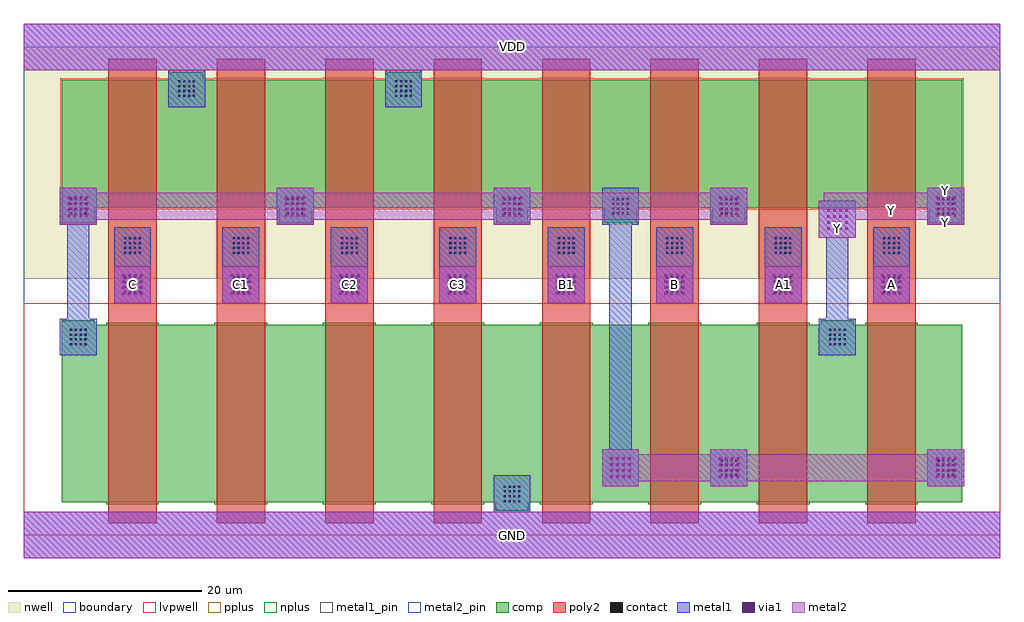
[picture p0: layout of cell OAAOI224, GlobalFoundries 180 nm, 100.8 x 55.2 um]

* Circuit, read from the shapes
.subckt OAAOI224 A A1 B B1 C C1 C2 C3 GND VDD Y
XM1 n1 C n2 VSUBS nfet_03v3 w=18.3u l=5u
XM2 n3 C1 n1 VSUBS nfet_03v3 w=18.3u l=5u
XM3 n4 C2 n3 VSUBS nfet_03v3 w=18.3u l=5u
XM4 GND C3 n4 VSUBS nfet_03v3 w=18.3u l=5u
XM5 n5 B1 GND VSUBS nfet_03v3 w=18.3u l=5u
XM6 n6 B n5 VSUBS nfet_03v3 w=18.3u l=5u
XM7 Y A1 n6 VSUBS nfet_03v3 w=18.3u l=5u
XM8 n6 A Y VSUBS nfet_03v3 w=18.3u l=5u
XM9 VDD C n2 n7 pfet_03v3 w=13.2u l=5u
XM10 n2 C1 VDD n7 pfet_03v3 w=13.2u l=5u
XM11 VDD C2 n2 n7 pfet_03v3 w=13.2u l=5u
XM12 n2 C3 VDD n7 pfet_03v3 w=13.2u l=5u
XM13 n6 B1 n2 n7 pfet_03v3 w=13.2u l=5u
XM14 n2 B n6 n7 pfet_03v3 w=13.2u l=5u
XM15 n8 A1 n2 n7 pfet_03v3 w=13.2u l=5u
XM16 Y A n8 n7 pfet_03v3 w=13.2u l=5u
.ends

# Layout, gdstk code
import gdstk
lib = gdstk.Library(unit=1e-6, precision=1e-09)
def R(c, l, rs):  # rectangles x0, y0, x1, y1
    for r in rs: c.add(gdstk.rectangle(r[:2], r[2:], *l))
def A(c, l, x, y, w, h, nx, ny, dx, dy):  # array of equal rectangles
    R(c, l, [(x+i*dx, y+j*dy, x+i*dx+w, y+j*dy+h) for i in range(nx) for j in range(ny)])
boundary = (0, 0)
nwell = (21, 0)
comp = (22, 0)
poly2 = (30, 0)
pplus = (31, 0)
nplus = (32, 0)
contact = (33, 0)
metal1 = (34, 0)
metal1_pin = (34, 10)
via1 = (35, 0)
metal2 = (36, 0)
metal2_pin = (36, 10)
lvpwell = (204, 0)

oaaoi224 = lib.new_cell('OAAOI224')
R(oaaoi224, boundary, [(0,0,100.8,50.4)])
R(oaaoi224, nwell, [(0,26.45,100.8,50.4)])
A(oaaoi224, comp, 3.9, 32.25, 3.4, 1.55, 3, 1, 22.4, 0)
R(oaaoi224, comp, [(48.7,2.55,52.1,3.4), (3.9,3.4,96.9,21.7), (3.9,21.7,7.3,22.15), (82.3,21.7,85.7,22.15), (59.9,32.25,63.3,33.8), (71.1,32.25,74.5,33.8), (93.5,32.25,96.9,33.8), (3.9,33.8,96.9,47), (15.1,47,18.5,47.8), (37.5,47,40.9,47.8)])
A(oaaoi224, poly2, 8.7, 1.2, 5, 48, 8, 1, 11.2, 0)
A(oaaoi224, pplus, 3.74, 32.09, 3.72, 1.55, 3, 1, 22.4, 0)
A(oaaoi224, pplus, 8.47, 33.57, 5.46, 0.07, 8, 2, 11.2, 13.59)
R(oaaoi224, pplus, [(59.74,32.09,63.46,33.64), (70.94,32.09,74.66,33.64), (93.34,32.09,97.06,33.64), (3.74,33.64,97.06,47.16), (14.94,47.16,18.66,47.96), (37.34,47.16,41.06,47.96)])
A(oaaoi224, nplus, 8.47, 3.17, 5.46, 0.21, 8, 2, 11.2, 18.55)
R(oaaoi224, nplus, [(48.68,2.53,52.12,3.38), (3.88,3.38,96.92,21.72), (3.88,21.72,7.32,22.17), (82.28,21.72,85.72,22.17)])
A(oaaoi224, contact, 49.54, 3.39, 0.22, 0.22, 4, 4, 0.5, 0.5)
A(oaaoi224, contact, 71.94, 6.09, 0.22, 0.22, 4, 4, 0.5, 0.5)
A(oaaoi224, contact, 94.34, 6.09, 0.22, 0.22, 4, 4, 0.5, 0.5)
A(oaaoi224, contact, 4.74, 19.59, 0.22, 0.22, 4, 4, 0.5, 0.5)
A(oaaoi224, contact, 83.14, 19.59, 0.22, 0.22, 4, 4, 0.5, 0.5)
A(oaaoi224, contact, 10.34, 24.99, 0.22, 0.22, 4, 4, 0.5, 0.5)
A(oaaoi224, contact, 21.54, 24.99, 0.22, 0.22, 4, 4, 0.5, 0.5)
A(oaaoi224, contact, 32.74, 24.99, 0.22, 0.22, 4, 4, 0.5, 0.5)
A(oaaoi224, contact, 43.94, 24.99, 0.22, 0.22, 4, 4, 0.5, 0.5)
A(oaaoi224, contact, 55.14, 24.99, 0.22, 0.22, 4, 4, 0.5, 0.5)
A(oaaoi224, contact, 66.34, 24.99, 0.22, 0.22, 4, 4, 0.5, 0.5)
A(oaaoi224, contact, 77.54, 24.99, 0.22, 0.22, 4, 4, 0.5, 0.5)
A(oaaoi224, contact, 88.74, 24.99, 0.22, 0.22, 4, 4, 0.5, 0.5)
A(oaaoi224, contact, 10.34, 29.04, 0.22, 0.22, 4, 4, 0.5, 0.5)
A(oaaoi224, contact, 21.54, 29.04, 0.22, 0.22, 4, 4, 0.5, 0.5)
A(oaaoi224, contact, 32.74, 29.04, 0.22, 0.22, 4, 4, 0.5, 0.5)
A(oaaoi224, contact, 43.94, 29.04, 0.22, 0.22, 4, 4, 0.5, 0.5)
A(oaaoi224, contact, 55.14, 29.04, 0.22, 0.22, 4, 4, 0.5, 0.5)
A(oaaoi224, contact, 66.34, 29.04, 0.22, 0.22, 4, 4, 0.5, 0.5)
A(oaaoi224, contact, 77.54, 29.04, 0.22, 0.22, 4, 4, 0.5, 0.5)
A(oaaoi224, contact, 88.74, 29.04, 0.22, 0.22, 4, 4, 0.5, 0.5)
A(oaaoi224, contact, 4.74, 33.09, 0.22, 0.22, 4, 4, 0.5, 0.5)
A(oaaoi224, contact, 27.14, 33.09, 0.22, 0.22, 4, 4, 0.5, 0.5)
A(oaaoi224, contact, 49.54, 33.09, 0.22, 0.22, 4, 4, 0.5, 0.5)
A(oaaoi224, contact, 60.74, 33.09, 0.22, 0.22, 4, 4, 0.5, 0.5)
A(oaaoi224, contact, 71.94, 33.09, 0.22, 0.22, 4, 4, 0.5, 0.5)
A(oaaoi224, contact, 94.34, 33.09, 0.22, 0.22, 4, 4, 0.5, 0.5)
A(oaaoi224, contact, 15.94, 45.24, 0.22, 0.22, 4, 4, 0.5, 0.5)
A(oaaoi224, contact, 38.34, 45.24, 0.22, 0.22, 4, 4, 0.5, 0.5)
A(oaaoi224, metal1, 9.3, 23.95, 3.8, 7.85, 8, 1, 11.2, 0)
A(oaaoi224, metal1, 3.7, 32.05, 3.8, 3.8, 3, 1, 22.4, 0)
R(oaaoi224, metal1, [(0,-2.4,100.8,2.4), (48.5,2.4,52.3,6.15), (59.7,5.05,63.5,8.85), (70.9,5.05,74.7,8.85), (93.3,5.05,97.1,8.85), (60.45,8.85,62.75,32.05), (3.7,18.55,7.5,22.35), (82.1,18.55,85.9,22.35), (4.45,22.35,6.75,32.05), (82.85,22.35,85.15,30.7), (82.1,30.7,85.9,34.5), (59.7,32.05,63.5,35.85), (70.9,32.05,74.7,35.85), (93.3,32.05,97.1,35.85), (14.9,44.2,18.7,48), (37.3,44.2,41.1,48), (0,48,100.8,52.8)])
R(oaaoi224, metal1_pin, [(0,-2.4,100.8,2.4), (0,48,100.8,52.8)])
A(oaaoi224, via1, 60.54, 5.89, 0.26, 0.26, 4, 4, 0.62, 0.62)
A(oaaoi224, via1, 71.74, 5.89, 0.26, 0.26, 4, 4, 0.62, 0.62)
A(oaaoi224, via1, 94.14, 5.89, 0.26, 0.26, 4, 4, 0.62, 0.62)
A(oaaoi224, via1, 10.14, 24.79, 0.26, 0.26, 4, 4, 0.62, 0.62)
A(oaaoi224, via1, 21.34, 24.79, 0.26, 0.26, 4, 4, 0.62, 0.62)
A(oaaoi224, via1, 32.54, 24.79, 0.26, 0.26, 4, 4, 0.62, 0.62)
A(oaaoi224, via1, 43.74, 24.79, 0.26, 0.26, 4, 4, 0.62, 0.62)
A(oaaoi224, via1, 54.94, 24.79, 0.26, 0.26, 4, 4, 0.62, 0.62)
A(oaaoi224, via1, 66.14, 24.79, 0.26, 0.26, 4, 4, 0.62, 0.62)
A(oaaoi224, via1, 77.34, 24.79, 0.26, 0.26, 4, 4, 0.62, 0.62)
A(oaaoi224, via1, 88.54, 24.79, 0.26, 0.26, 4, 4, 0.62, 0.62)
A(oaaoi224, via1, 82.94, 31.54, 0.26, 0.26, 4, 4, 0.62, 0.62)
A(oaaoi224, via1, 4.54, 32.89, 0.26, 0.26, 4, 4, 0.62, 0.62)
A(oaaoi224, via1, 26.94, 32.89, 0.26, 0.26, 4, 4, 0.62, 0.62)
A(oaaoi224, via1, 49.34, 32.89, 0.26, 0.26, 4, 4, 0.62, 0.62)
A(oaaoi224, via1, 71.74, 32.89, 0.26, 0.26, 4, 4, 0.62, 0.62)
A(oaaoi224, via1, 94.14, 32.89, 0.26, 0.26, 4, 4, 0.62, 0.62)
A(oaaoi224, metal2, 9.3, 23.95, 3.8, 3.8, 8, 1, 11.2, 0)
A(oaaoi224, metal2, 3.7, 32.05, 3.8, 0.5, 5, 2, 22.4, 3.3)
R(oaaoi224, metal2, [(0,-2.4,100.8,2.4), (59.7,5.05,63.5,5.55), (70.9,5.05,74.7,5.55), (93.3,5.05,97.1,5.55), (59.7,5.55,97.1,8.35), (59.7,8.35,63.5,8.85), (70.9,8.35,74.7,8.85), (93.3,8.35,97.1,8.85), (82.1,30.7,85.9,32.55), (3.7,32.55,74.7,35.35), (82.1,32.55,97.1,34.5), (82.6,34.5,97.1,35.35), (0,48,100.8,52.8)])
A(oaaoi224, metal2_pin, 9.3, 23.95, 3.8, 3.8, 8, 1, 11.2, 0)
R(oaaoi224, metal2_pin, [(82.1,30.7,85.9,32.55), (93.3,32.05,97.1,32.55), (82.1,32.55,97.1,34.5), (82.6,34.5,97.1,35.35), (93.3,35.35,97.1,35.85)])
R(oaaoi224, lvpwell, [(0,0,100.8,23.95)])
oaaoi224.add(gdstk.Label('VDD', (50.4,50.4), layer=34, texttype=10))
oaaoi224.add(gdstk.Label('GND', (50.4,0), layer=34, texttype=10))
oaaoi224.add(gdstk.Label('Y', (84,31.625), layer=36, texttype=10))
oaaoi224.add(gdstk.Label('Y', (95.2,32.3), layer=36, texttype=10))
oaaoi224.add(gdstk.Label('Y', (89.6,33.525), layer=36, texttype=10))
oaaoi224.add(gdstk.Label('Y', (89.85,34.925), layer=36, texttype=10))
oaaoi224.add(gdstk.Label('Y', (95.2,35.6), layer=36, texttype=10))
oaaoi224.add(gdstk.Label('C', (11.2,25.85), layer=36, texttype=10))
oaaoi224.add(gdstk.Label('B', (67.2,25.85), layer=36, texttype=10))
oaaoi224.add(gdstk.Label('A1', (78.4,25.85), layer=36, texttype=10))
oaaoi224.add(gdstk.Label('B1', (56,25.85), layer=36, texttype=10))
oaaoi224.add(gdstk.Label('C2', (33.6,25.85), layer=36, texttype=10))
oaaoi224.add(gdstk.Label('C1', (22.4,25.85), layer=36, texttype=10))
oaaoi224.add(gdstk.Label('C3', (44.8,25.85), layer=36, texttype=10))
oaaoi224.add(gdstk.Label('A', (89.6,25.85), layer=36, texttype=10))

lib.write_gds('OAAOI224.gds')
